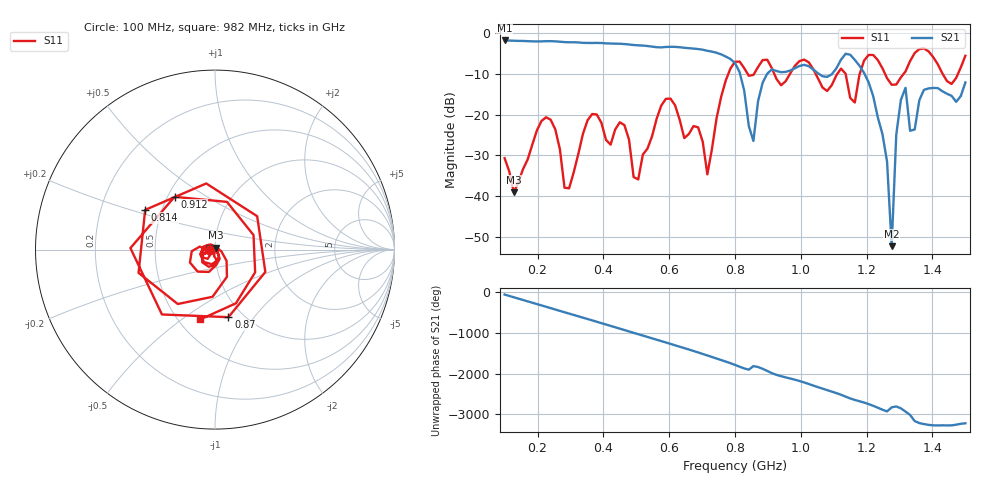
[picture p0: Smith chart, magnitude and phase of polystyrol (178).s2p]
! NanoVNA-App
! Date: 2025-09-25 15:31:16
! Start: 100MHz Stop: 1,5GHz Points: 101
! S-Parameter data: F S11 S21 S12 S22
# Hz S RI R 50
!  Frequency  S11_Real  S11_Imag  S21_Real  S21_Imag  S12_Real  S12_Imag  S22_Real  S22_Imag
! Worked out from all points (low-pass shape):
!   101 points, 100 MHz to 1.5 GHz, reference 50 ohm
!   highest |S21| = -1.80 dB at 100 MHz (marker M1); lowest = -52.3 dB at 1.276 GHz (marker M2)
!   |S21| within 3 dB of the highest: start of sweep to 743 MHz
!   lowest |S11| = -39.1 dB at 128 MHz (marker M3), VSWR 1.02, Z = 50.3 + j1.06 ohm
!   |S11| at or under -10 dB: start of sweep to 779.7 MHz; 1.045 GHz to 1.111 GHz (65.89 MHz wide, 6.11 % of centre); 1.256 GHz to 1.312 GHz (56.47 MHz wide, 4.4 % of centre) (the widest 3 of 7)
!   S12 and S22 are empty: the file has one direction only
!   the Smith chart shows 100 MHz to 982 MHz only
!   S11 on the Smith chart (normalised r, x): 100 MHz: 0.94, -0.01; 814 MHz: 0.40, +0.22; 870 MHz: 0.85, -0.75; 912 MHz: 0.54, +0.37; 982 MHz: 0.64, -0.59
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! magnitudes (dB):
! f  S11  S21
! 100 MHz  -30.7  -1.8
! 128 MHz  -39.1  -1.9
! 212 MHz  -21.6  -2.0
! 282 MHz  -38.0  -2.2
! 338 MHz  -24.7  -2.4
! 506 MHz  -35.9  -3.0
! 576 MHz  -17.8  -3.5
! 716 MHz  -34.7  -4.3
! 800 MHz  -7.0  -7.4
! 814 MHz  -7.0  -9.6
! 856 MHz  -10.3  -26.5
! 870 MHz  -8.3  -16.7
! 912 MHz  -8.6  -8.9
! 982 MHz  -8.0  -8.6
! 1.038 GHz  -8.9  -8.9
! 1.164 GHz  -17.0  -6.6
! 1.206 GHz  -5.4  -12.1
! 1.262 GHz  -11.1  -31.6
! 1.276 GHz  -12.7  -52.3
! 1.29 GHz  -12.6  -24.9
! 1.318 GHz  -9.4  -13.4
! 1.5 GHz  -5.6  -12.1
